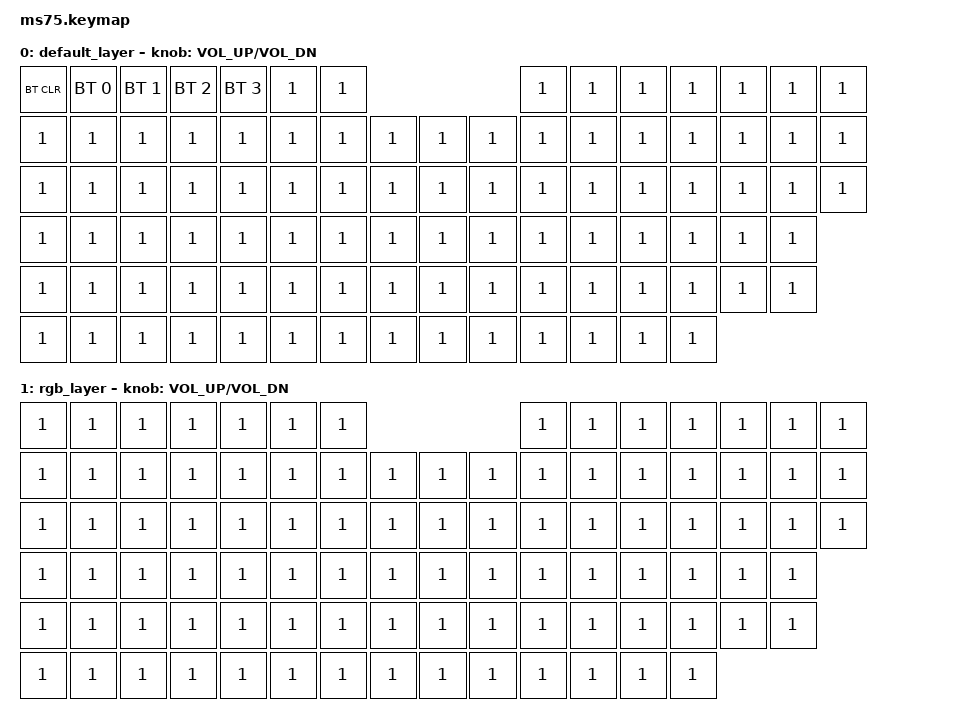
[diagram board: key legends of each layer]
#include <behaviors.dtsi>
#include <dt-bindings/zmk/keys.h>
#include <dt-bindings/zmk/bt.h>
#include <dt-bindings/zmk/outputs.h>
#include <dt-bindings/zmk/backlight.h>
#include <dt-bindings/zmk/rgb.h>
#include <dt-bindings/zmk/ext_power.h>

/ {
	keymap {
		compatible = "zmk,keymap";
		
		default_layer {
			bindings = <
                    &bt BT_CLR     &bt BT_SEL 0  &bt BT_SEL 1     &bt BT_SEL 2    &bt BT_SEL 3    &kp N1    &kp N1    &kp N1    &kp N1    &kp N1    &kp N1    &kp N1    &kp N1    &kp N1    
                    &kp N1    &kp N1    &kp N1    &kp N1    &kp N1    &kp N1    &kp N1    &kp N1    &kp N1    &kp N1    &kp N1    &kp N1    &kp N1    &kp N1    &kp N1    &kp N1    &kp N1    
                    &kp N1    &kp N1    &kp N1    &kp N1    &kp N1    &kp N1    &kp N1    &kp N1    &kp N1    &kp N1    &kp N1    &kp N1    &kp N1    &kp N1    &kp N1    &kp N1    &kp N1    
                    &kp N1    &kp N1    &kp N1    &kp N1    &kp N1    &kp N1    &kp N1    &kp N1    &kp N1    &kp N1    &kp N1    &kp N1    &kp N1    &kp N1    &kp N1    &kp N1
                    &kp N1    &kp N1    &kp N1    &kp N1    &kp N1    &kp N1    &kp N1    &kp N1    &kp N1    &kp N1    &kp N1    &kp N1    &kp N1    &kp N1    &kp N1    &kp N1    
                    &kp N1    &kp N1    &kp N1    &kp N1    &kp N1    &kp N1    &kp N1    &kp N1    &kp N1    &kp N1    &kp N1    &kp N1    &kp N1    &kp N1        
				>;
                                sensor-bindings = <&inc_dec_kp C_VOL_UP C_VOL_DN>;
			};



		rgb_layer {
				bindings = <
                    &kp N1    &kp N1    &kp N1    &kp N1    &kp N1    &kp N1    &kp N1    &kp N1    &kp N1    &kp N1    &kp N1    &kp N1    &kp N1    &kp N1    
                    &kp N1    &kp N1    &kp N1    &kp N1    &kp N1    &kp N1    &kp N1    &kp N1    &kp N1    &kp N1    &kp N1    &kp N1    &kp N1    &kp N1    &kp N1    &kp N1    &kp N1    
                    &kp N1    &kp N1    &kp N1    &kp N1    &kp N1    &kp N1    &kp N1    &kp N1    &kp N1    &kp N1    &kp N1    &kp N1    &kp N1    &kp N1    &kp N1    &kp N1    &kp N1    
                    &kp N1    &kp N1    &kp N1    &kp N1    &kp N1    &kp N1    &kp N1    &kp N1    &kp N1    &kp N1    &kp N1    &kp N1    &kp N1    &kp N1    &kp N1    &kp N1
                    &kp N1    &kp N1    &kp N1    &kp N1    &kp N1    &kp N1    &kp N1    &kp N1    &kp N1    &kp N1    &kp N1    &kp N1    &kp N1    &kp N1    &kp N1    &kp N1    
                    &kp N1    &kp N1    &kp N1    &kp N1    &kp N1    &kp N1    &kp N1    &kp N1    &kp N1    &kp N1    &kp N1    &kp N1    &kp N1    &kp N1    
				>;
                                sensor-bindings = <&inc_dec_kp C_VOL_UP C_VOL_DN>;
			};
	};
};
